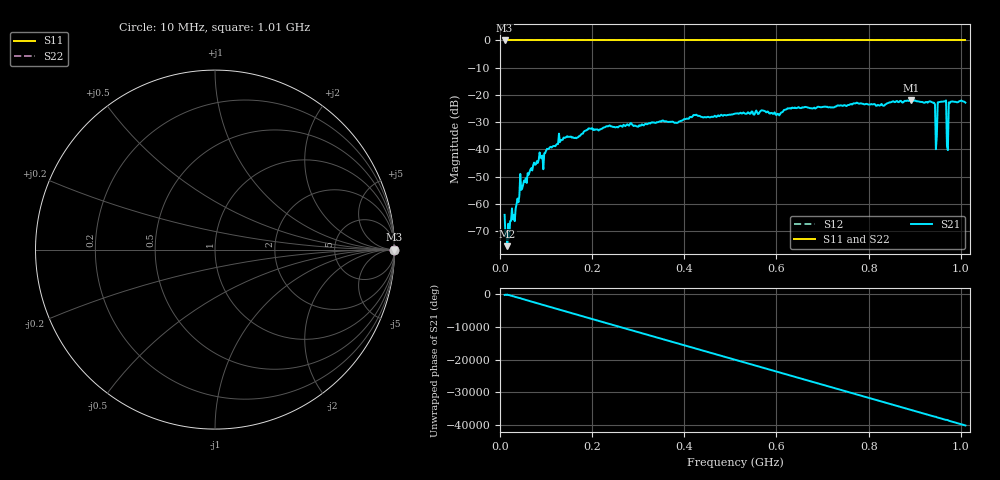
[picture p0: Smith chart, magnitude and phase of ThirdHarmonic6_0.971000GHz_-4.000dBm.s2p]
! 8/16/2025 7:21:38 AM
! C:\ANRITSUVNA\TEMP\TEMP.S2P
! CHANNEL.1
! TR.MEASUREMENT
! RAW.DATA
! RF.CORRECTION.OFF
! AVERAGING.OFF
! IF.BANDWIDTH: 5KHZ
! SWEEPTYPE:  FREQ.SWEEP(Linear)
! Reference Plane Port Info
! PORT:  PORT1  PORT2
! DISTANCE:  0  m  0  m
! TIME:  0  s  0  s
! PHASE.OFFSET:  0  deg.  0  deg.
! LOSS:  0  dB  0  dB
! REF.LOSS:  0  dB  0  dB
! REF.FREQ:  0  Hz  0  Hz
! Power Info
! POWER:  -20  dBm  -20  dBm
! EFF.POWER:  -20  dBm  -20  dBm
! SOURCE.ATTEN:  0  dB  0  dB
! TEST.ATTEN:  0  dB  0  dB
# GHZ S RI R 50.0
! FREQ.GHZ  S11RE  S11IM  S21RE  S21IM  S12RE  S12IM  S22RE  S22IM
!; PortSelection: Port_12
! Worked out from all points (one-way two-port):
!   501 points, 10 MHz to 1.01 GHz, reference 50 ohm
!   highest |S21| = -21.91 dB at 892 MHz (marker M1); lowest = -75.6 dB at 16 MHz (marker M2)
!   lowest |S11| = 0.0 dB at 10 MHz (marker M3)
!   |S11| at or under -10 dB: nowhere
!   |S22| runs from 0.0 to 0.0 dB; largest |S21 - S12| = 1.1
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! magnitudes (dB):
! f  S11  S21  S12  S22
! 10 MHz  0.0  -64.1  0.0  0.0
! 16 MHz  0.0  -75.6  0.0  0.0
! 32 MHz  0.0  -66.4  0.0  0.0
! 48 MHz  0.0  -54.5  0.0  0.0
! 70 MHz  0.0  -47.7  0.0  0.0
! 132 MHz  0.0  -36.7  0.0  0.0
! 178 MHz  0.0  -34.3  0.0  0.0
! 196 MHz  0.0  -32.4  0.0  0.0
! 344 MHz  0.0  -29.9  0.0  0.0
! 510 MHz  0.0  -26.9  0.0  0.0
! 678 MHz  0.0  -25.0  0.0  0.0
! 844 MHz  0.0  -22.9  0.0  0.0
! 892 MHz  0.0  -21.9  0.0  0.0
! 940 MHz  0.0  -22.9  0.0  0.0
! 944 MHz  0.0  -23.5  0.0  0.0
! 950 MHz  0.0  -22.7  0.0  0.0
! 954 MHz  0.0  -22.6  0.0  0.0
! 964 MHz  0.0  -22.4  0.0  0.0
! 968 MHz  0.0  -22.0  0.0  0.0
! 974 MHz  0.0  -22.7  0.0  0.0
! 978 MHz  0.0  -22.5  0.0  0.0
! 1.01 GHz  0.0  -22.8  0.0  0.0
